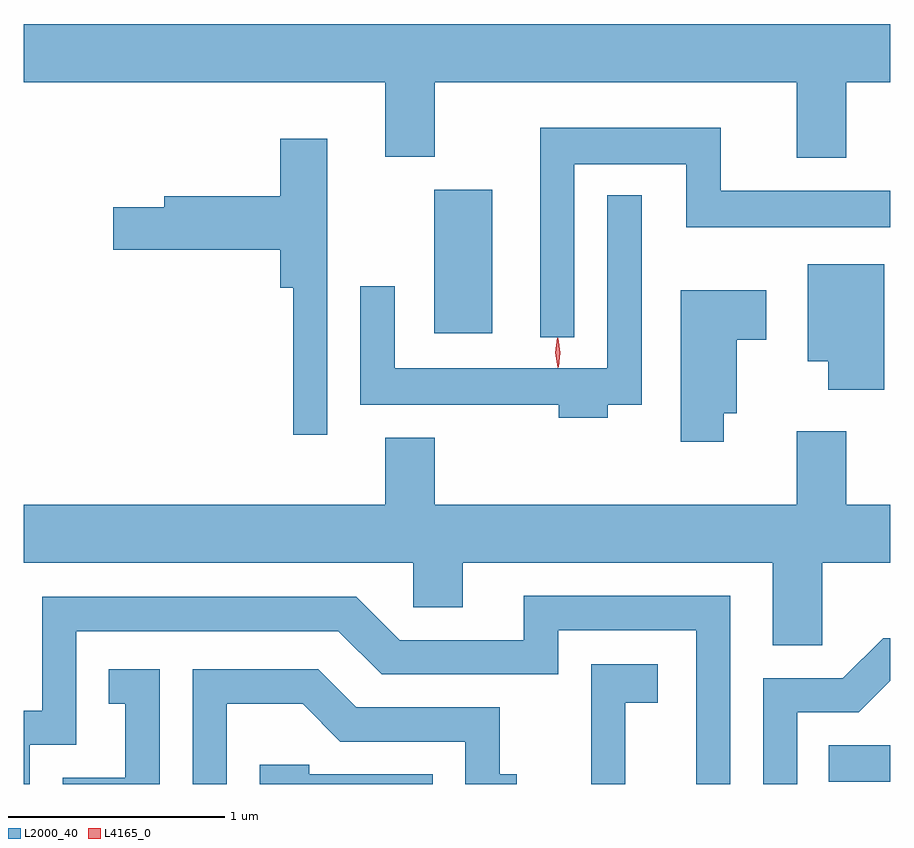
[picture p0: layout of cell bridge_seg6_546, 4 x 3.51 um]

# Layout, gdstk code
import gdstk
lib = gdstk.Library(unit=1e-6, precision=1e-09)
def R(c, l, rs):  # rectangles x0, y0, x1, y1
    for r in rs: c.add(gdstk.rectangle(r[:2], r[2:], *l))
def P(c, l, *ps):  # polygons
    for p in ps: c.add(gdstk.Polygon(p, *l))
L2000_40 = (2000, 40)
L4165_0 = (4165, 0)

bridge_seg6_546 = lib.new_cell('bridge_seg6_546')
R(bridge_seg6_546, L2000_40, [(503.468,1635.606,503.752,1635.774), (501.646,1637.676,501.914,1638.339)])
P(bridge_seg6_546, L2000_40, [(503.549,1638.836),(503.752,1638.836),(503.752,1639.104),(499.752,1639.104),(499.752,1638.836),(501.421,1638.836),(501.421,1638.491),(501.649,1638.491),(501.649,1638.836),(503.321,1638.836),(503.321,1638.486),(503.549,1638.486)],
  [(502.294,1638.456),(502.811,1638.456),(502.811,1638.166),(503.752,1638.166),(503.752,1638.334),(502.969,1638.334),(502.969,1638.624),(502.136,1638.624),(502.136,1637.658),(502.294,1637.658)],
  [(501.154,1638.574),(500.936,1638.574),(500.936,1638.309),(500.401,1638.309),(500.401,1638.259),(500.166,1638.259),(500.166,1638.061),(500.936,1638.061),(500.936,1637.886),(500.996,1637.886),(500.996,1637.208),(501.154,1637.208)],
  [(502.449,1637.346),(502.604,1637.346),(502.604,1638.313),(502.446,1638.313),(502.446,1637.514),(501.464,1637.514),(501.464,1637.893),(501.306,1637.893),(501.306,1637.346),(502.221,1637.346),(502.221,1637.286),(502.449,1637.286)],
  [(503.724,1637.994),(503.371,1637.994),(503.371,1637.546),(503.466,1637.546),(503.466,1637.416),(503.724,1637.416)],
  [(502.984,1637.306),(503.044,1637.306),(503.044,1637.646),(503.179,1637.646),(503.179,1637.874),(502.786,1637.874),(502.786,1637.176),(502.984,1637.176)],
  [(503.439,1636.616),(503.752,1636.616),(503.752,1636.884),(503.549,1636.884),(503.549,1637.224),(503.321,1637.224),(503.321,1636.884),(501.649,1636.884),(501.649,1637.194),(501.421,1637.194),(501.421,1636.884),(499.752,1636.884),(499.752,1636.616),(501.551,1636.616),(501.551,1636.411),(501.779,1636.411),(501.779,1636.616),(503.211,1636.616),(503.211,1636.236),(503.439,1636.236)],
  [(499.779,1635.776),(499.994,1635.776),(499.994,1636.301),(501.204,1636.301),(501.404,1636.101),(502.219,1636.101),(502.219,1636.306),(502.856,1636.306),(502.856,1635.595),(503.014,1635.595),(503.014,1636.464),(502.061,1636.464),(502.061,1636.259),(501.487,1636.259),(501.287,1636.459),(499.836,1636.459),(499.836,1635.934),(499.752,1635.934),(499.752,1635.595),(499.779,1635.595)],
  [(503.324,1635.926),(503.607,1635.926),(503.752,1636.071),(503.752,1636.269),(503.719,1636.269),(503.534,1636.084),(503.166,1636.084),(503.166,1635.595),(503.324,1635.595)],
  [(502.529,1635.971),(502.679,1635.971),(502.679,1636.149),(502.371,1636.149),(502.371,1635.595),(502.529,1635.595)],
  [(500.689,1635.966),(501.039,1635.966),(501.214,1635.791),(501.791,1635.791),(501.791,1635.595),(502.028,1635.595),(502.028,1635.639),(501.949,1635.639),(501.949,1635.949),(501.287,1635.949),(501.112,1636.124),(500.531,1636.124),(500.531,1635.595),(500.689,1635.595)],
  [(500.379,1636.124),(500.143,1636.124),(500.143,1635.966),(500.221,1635.966),(500.221,1635.624),(499.931,1635.624),(499.931,1635.595),(500.379,1635.595)],
  [(501.639,1635.639),(501.069,1635.639),(501.069,1635.684),(500.841,1635.684),(500.841,1635.595),(501.639,1635.595)])
P(bridge_seg6_546, L4165_0, [(502.22,1637.52),(502.22,1637.521),(502.209,1637.586),(502.218,1637.652),(502.218,1637.653),(502.219,1637.652),(502.229,1637.587),(502.221,1637.521)],
  [(502.217,1637.518),(502.217,1637.518),(502.206,1637.587),(502.214,1637.656),(502.215,1637.656),(502.215,1637.656),(502.226,1637.587),(502.218,1637.518)])

lib.write_gds('bridge_seg6_546.gds')
